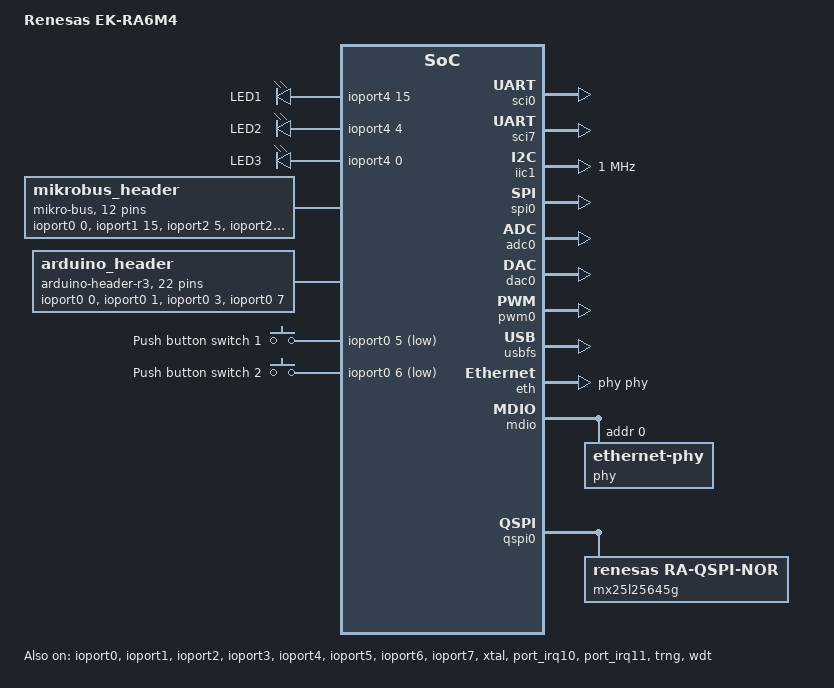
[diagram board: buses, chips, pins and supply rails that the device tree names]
/*
 * Copyright (c) 2024-2025 Renesas Electronics Corporation
 * SPDX-License-Identifier: Apache-2.0
 */

/dts-v1/;

#include <renesas/ra/ra6/r7fa6m4af3cfb.dtsi>
#include <dt-bindings/gpio/gpio.h>
#include <dt-bindings/input/input-event-codes.h>
#include <zephyr/dt-bindings/adc/adc.h>
#include <zephyr/dt-bindings/gpio/arduino-header-r3.h>

#include "ek_ra6m4-pinctrl.dtsi"

/ {
	model = "Renesas EK-RA6M4";
	compatible = "renesas,ra6m4", "renesas,ra";

	chosen {
		zephyr,sram = &sram0;
		zephyr,flash-controller = &flash1;
		zephyr,flash = &flash0;
		zephyr,console = &uart0;
		zephyr,shell-uart = &uart0;
		zephyr,entropy = &trng;
	};

	leds {
		compatible = "gpio-leds";
		led1: led1 {
			gpios = <&ioport4 15 GPIO_ACTIVE_HIGH>;
			label = "LED1";
		};
		led2: led2 {
			gpios = <&ioport4 4 GPIO_ACTIVE_HIGH>;
			label = "LED2";
		};
		led3: led3 {
			gpios = <&ioport4 0 GPIO_ACTIVE_HIGH>;
			label = "LED3";
		};
	};

	mikrobus_header: mikrobus-connector {
		compatible = "mikro-bus";
		#gpio-cells = <2>;
		gpio-map-mask = <0xffffffff 0xffffffc0>;
		gpio-map-pass-thru = <0 0x3f>;
		gpio-map =	<0 0 &ioport0 0 0>,	/* AN  */
				<1 0 &ioport1 15 0>,	/* RST */
				<2 0 &ioport2 5 0>,	/* CS   */
				<3 0 &ioport2 4 0>,	/* SCK  */
				<4 0 &ioport2 2 0>,	/* MISO */
				<5 0 &ioport2 3 0>,	/* MOSI */
							/* +3.3V */
							/* GND */
				<6 0 &ioport4 8 0>,	/* PWM  */
				<7 0 &ioport4 9 0>,	/* INT  */
				<8 0 &ioport6 14 0>,	/* RX   */
				<9 0 &ioport6 13 0>,	/* TX   */
				<10 0 &ioport5 12 0>,	/* SCL  */
				<11 0 &ioport5 11 0>;	/* SDA  */
							/* +5V */
							/* GND */
	};

	arduino_header: arduino-connector {
		compatible = "arduino-header-r3";
		#gpio-cells = <2>;
		gpio-map-mask = <0xffffffff 0xffffffc0>;
		gpio-map-pass-thru = <0 0x3f>;
		gpio-map = <ARDUINO_HEADER_R3_A0 0 &ioport0 0 0>,
			   <ARDUINO_HEADER_R3_A1 0 &ioport0 1 0>,
			   <ARDUINO_HEADER_R3_A2 0 &ioport0 3 0>,
			   <ARDUINO_HEADER_R3_A3 0 &ioport0 7 0>,
			   <ARDUINO_HEADER_R3_A4 0 &ioport0 14 0>,
			   <ARDUINO_HEADER_R3_A5 0 &ioport0 15 0>,
			   <ARDUINO_HEADER_R3_D0 0 &ioport6 14 0>,
			   <ARDUINO_HEADER_R3_D1 0 &ioport6 13 0>,
			   <ARDUINO_HEADER_R3_D2 0 &ioport0 9 0>,
			   <ARDUINO_HEADER_R3_D3 0 &ioport1 11 0>,
			   <ARDUINO_HEADER_R3_D4 0 &ioport7 13 0>,
			   <ARDUINO_HEADER_R3_D5 0 &ioport7 12 0>,
			   <ARDUINO_HEADER_R3_D6 0 &ioport4 8 0>,
			   <ARDUINO_HEADER_R3_D7 0 &ioport3 4 0>,
			   <ARDUINO_HEADER_R3_D8 0 &ioport6 11 0>,
			   <ARDUINO_HEADER_R3_D9 0 &ioport3 3 0>,
			   <ARDUINO_HEADER_R3_D10 0 &ioport2 5 0>,
			   <ARDUINO_HEADER_R3_D11 0 &ioport2 3 0>,
			   <ARDUINO_HEADER_R3_D12 0 &ioport2 2 0>,
			   <ARDUINO_HEADER_R3_D13 0 &ioport2 4 0>,
			   <ARDUINO_HEADER_R3_D14 0 &ioport5 11 0>,
			   <ARDUINO_HEADER_R3_D15 0 &ioport5 12 0>;
	};

	buttons {
		compatible = "gpio-keys";
		button0: s1 {
			gpios = <&ioport0 5 (GPIO_PULL_UP | GPIO_ACTIVE_LOW)>;
			label = "Push button switch 1";
			zephyr,code = <INPUT_KEY_0>;
		};
		button1: s2 {
			gpios = <&ioport0 6 (GPIO_PULL_UP | GPIO_ACTIVE_LOW)>;
			label = "Push button switch 2";
			zephyr,code = <INPUT_KEY_1>;
		};
	};

	aliases {
		led0 = &led1;
		sw0 = &button0;
		sw1 = &button1;
		watchdog0 = &wdt;
	};
};

&sci0 {
	pinctrl-0 = <&sci0_default>;
	pinctrl-names = "default";
	status = "okay";
	uart0: uart {
		current-speed = <115200>;
		status = "okay";
	};
};

&sci7 {
	pinctrl-0 = <&sci7_default>;
	pinctrl-names = "default";
	status = "okay";
	uart7: uart {
		current-speed = <115200>;
		status = "okay";
	};
};

&iic1 {
	status = "okay";
	#address-cells = <1>;
	#size-cells = <0>;
	interrupts = <91 1>, <92 1>, <93 1>, <94 1>;
	interrupt-names = "rxi", "txi", "tei", "eri";
	clock-frequency = <DT_FREQ_M(1)>;
	pinctrl-0 = <&iic1_default>;
	pinctrl-names = "default";
};

&spi0 {
	pinctrl-0 = <&spi0_default>;
	pinctrl-names = "default";
	status = "okay";
};

&ioport0 {
	status = "okay";
};

&ioport1 {
	status = "okay";
};

&ioport2 {
	status = "okay";
};

&ioport3 {
	status = "okay";
};

&ioport4 {
	status = "okay";
};

&ioport5 {
	status = "okay";
};

&ioport6 {
	status = "okay";
};

&ioport7 {
	status = "okay";
};

&xtal {
	clock-frequency = <DT_FREQ_M(24)>;
	mosel = <0>;
	#clock-cells = <0>;
	status = "okay";
};

&subclk {
	status = "okay";
};

&pll {
	clocks = <&xtal>;
	div = <3>;
	mul = <25 0>;
	status = "okay";
};

&pll2 {
	clocks = <&hoco>;
	div = <2>;
	mul = <24 0>;
	status = "okay";
};

&pclka {
	clocks = <&pll>;
	div = <2>;
	status = "okay";
};

&adc0 {
	status = "okay";
	pinctrl-0 = <&adc0_default>;
	pinctrl-names = "default";
};

&dac0 {
	pinctrl-0 = <&dac0_default>;
	pinctrl-names = "default";
	status = "okay";
};

&port_irq10 {
	interrupts = <41 12>;
	status = "okay";
};

&port_irq11 {
	interrupts = <42 12>;
	status = "okay";
};

&pwm0 {
	pinctrl-0 = <&pwm0_default>;
	pinctrl-names = "default";
	interrupts = <63 1>, <64 1>;
	interrupt-names = "gtioca", "overflow";
	status = "okay";
};

&flash1 {
	partitions {
		compatible = "fixed-partitions";
		#address-cells = <1>;
		#size-cells = <1>;

		storage_partition: partition@0 {
			label = "storage";
			reg = <0X0 DT_SIZE_K(8)>;
		};
	};
};

&trng {
	status = "okay";
};

&uclk {
	clocks = <&pll2>;
	div = <5>;
	status = "okay";
};

&usbfs {
	pinctrl-0 = <&usbfs_default>;
	pinctrl-names = "default";
	maximum-speed = "full-speed";
	status = "okay";
	zephyr_udc0: udc {
		status = "okay";
	};
};

mikrobus_serial: &uart7 {};
mikrobus_i2c: &iic1 {};
mikrobus_spi: &spi0 {};

arduino_serial: &uart7 {};
arduino_i2c: &iic1 {};
arduino_spi: &spi0 {};

&wdt {
	status = "okay";
};

&eth {
	local-mac-address = [74 90 50 B0 6D 5D];
	status = "okay";
	phy-handle = <&phy>;
};

&mdio {
	pinctrl-0 = <&ether_default>;
	pinctrl-names = "default";
	status = "okay";

	phy: ethernet-phy@0 {
		compatible = "ethernet-phy";
		reg = <0>;
		status = "okay";
	};
};

&qspi0 {
	pinctrl-0 = <&qspi_default>;
	pinctrl-names = "default";
	status = "okay";

	mx25l25645g: qspi-nor-flash@60000000 {
		compatible = "renesas,ra-qspi-nor";
		reg = <0x60000000 DT_SIZE_M(32)>;
		status = "okay";
		write-block-size = <1>;
		erase-block-size = <4096>;
	};
};
